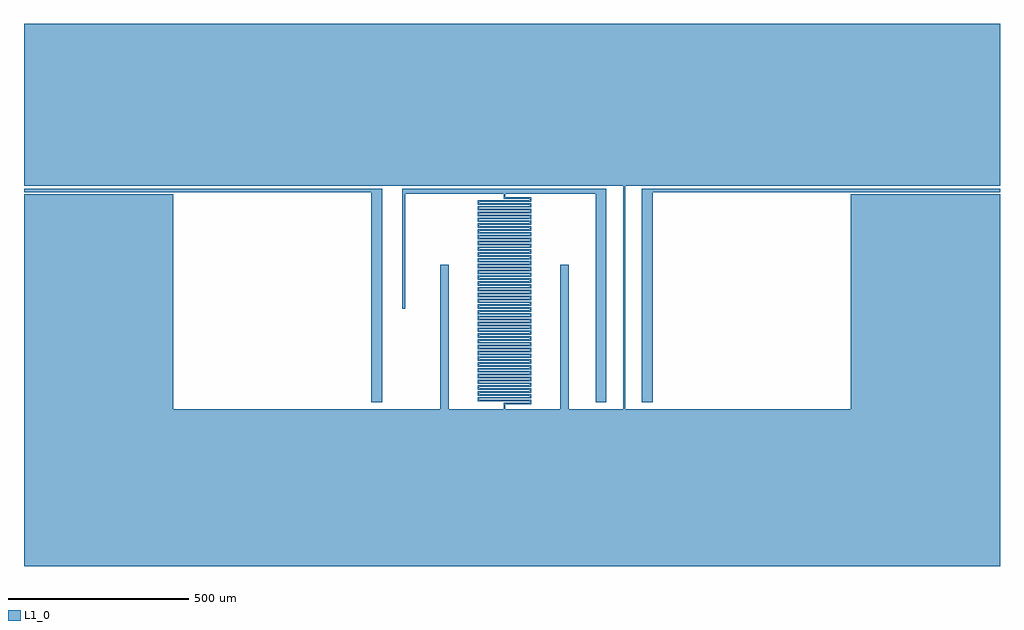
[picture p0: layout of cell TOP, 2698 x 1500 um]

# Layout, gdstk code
import gdstk
lib = gdstk.Library(unit=1e-6, precision=1e-09)
def R(c, l, rs):  # rectangles x0, y0, x1, y1
    for r in rs: c.add(gdstk.rectangle(r[:2], r[2:], *l))
def A(c, l, x, y, w, h, nx, ny, dx, dy):  # array of equal rectangles
    R(c, l, [(x+i*dx, y+j*dy, x+i*dx+w, y+j*dy+h) for i in range(nx) for j in range(ny)])
def P(c, l, *ps):  # polygons
    for p in ps: c.add(gdstk.Polygon(p, *l))
L1_0 = (1, 0)

top = lib.new_cell('TOP')
A(top, L1_0, 1398, -604, 4, 12, 1, 36, 0, 16)
R(top, L1_0, [(0,0,1398,448)])
P(top, L1_0, [(1054,-22),(1326,-22),(1326,-36),(1398,-36),(1398,-32),(1330,-32),(1330,-22),(1398,-22),(1398,-8),(1046,-8),(1046,-340),(1054,-340)],
  [(1398,-618),(1330,-618),(1330,-604),(1398,-604),(1398,-600),(1326,-600),(1326,-618),(1174,-618),(1174,-218),(1150,-218),(1150,-618),(412,-618),(412,-24),(0,-24),(0,-1052),(1398,-1052)],
  [(1258,-48),(1258,-44),(1398,-44),(1398,-40),(1254,-40),(1254,-52),(1398,-52),(1398,-48)],
  [(1258,-64),(1258,-60),(1398,-60),(1398,-56),(1254,-56),(1254,-68),(1398,-68),(1398,-64)],
  [(1258,-80),(1258,-76),(1398,-76),(1398,-72),(1254,-72),(1254,-84),(1398,-84),(1398,-80)],
  [(1258,-96),(1258,-92),(1398,-92),(1398,-88),(1254,-88),(1254,-100),(1398,-100),(1398,-96)],
  [(1258,-112),(1258,-108),(1398,-108),(1398,-104),(1254,-104),(1254,-116),(1398,-116),(1398,-112)],
  [(1258,-128),(1258,-124),(1398,-124),(1398,-120),(1254,-120),(1254,-132),(1398,-132),(1398,-128)],
  [(1258,-144),(1258,-140),(1398,-140),(1398,-136),(1254,-136),(1254,-148),(1398,-148),(1398,-144)],
  [(1258,-160),(1258,-156),(1398,-156),(1398,-152),(1254,-152),(1254,-164),(1398,-164),(1398,-160)],
  [(1258,-176),(1258,-172),(1398,-172),(1398,-168),(1254,-168),(1254,-180),(1398,-180),(1398,-176)],
  [(1258,-192),(1258,-188),(1398,-188),(1398,-184),(1254,-184),(1254,-196),(1398,-196),(1398,-192)],
  [(1258,-208),(1258,-204),(1398,-204),(1398,-200),(1254,-200),(1254,-212),(1398,-212),(1398,-208)],
  [(1258,-224),(1258,-220),(1398,-220),(1398,-216),(1254,-216),(1254,-228),(1398,-228),(1398,-224)],
  [(1258,-240),(1258,-236),(1398,-236),(1398,-232),(1254,-232),(1254,-244),(1398,-244),(1398,-240)],
  [(1258,-256),(1258,-252),(1398,-252),(1398,-248),(1254,-248),(1254,-260),(1398,-260),(1398,-256)],
  [(1258,-272),(1258,-268),(1398,-268),(1398,-264),(1254,-264),(1254,-276),(1398,-276),(1398,-272)],
  [(1258,-288),(1258,-284),(1398,-284),(1398,-280),(1254,-280),(1254,-292),(1398,-292),(1398,-288)],
  [(1258,-304),(1258,-300),(1398,-300),(1398,-296),(1254,-296),(1254,-308),(1398,-308),(1398,-304)],
  [(1258,-320),(1258,-316),(1398,-316),(1398,-312),(1254,-312),(1254,-324),(1398,-324),(1398,-320)],
  [(1258,-336),(1258,-332),(1398,-332),(1398,-328),(1254,-328),(1254,-340),(1398,-340),(1398,-336)],
  [(1258,-352),(1258,-348),(1398,-348),(1398,-344),(1254,-344),(1254,-356),(1398,-356),(1398,-352)],
  [(1258,-368),(1258,-364),(1398,-364),(1398,-360),(1254,-360),(1254,-372),(1398,-372),(1398,-368)],
  [(1258,-384),(1258,-380),(1398,-380),(1398,-376),(1254,-376),(1254,-388),(1398,-388),(1398,-384)],
  [(1258,-400),(1258,-396),(1398,-396),(1398,-392),(1254,-392),(1254,-404),(1398,-404),(1398,-400)],
  [(1258,-416),(1258,-412),(1398,-412),(1398,-408),(1254,-408),(1254,-420),(1398,-420),(1398,-416)],
  [(1258,-432),(1258,-428),(1398,-428),(1398,-424),(1254,-424),(1254,-436),(1398,-436),(1398,-432)],
  [(1258,-448),(1258,-444),(1398,-444),(1398,-440),(1254,-440),(1254,-452),(1398,-452),(1398,-448)],
  [(1258,-464),(1258,-460),(1398,-460),(1398,-456),(1254,-456),(1254,-468),(1398,-468),(1398,-464)],
  [(1258,-480),(1258,-476),(1398,-476),(1398,-472),(1254,-472),(1254,-484),(1398,-484),(1398,-480)],
  [(1258,-496),(1258,-492),(1398,-492),(1398,-488),(1254,-488),(1254,-500),(1398,-500),(1398,-496)],
  [(1258,-512),(1258,-508),(1398,-508),(1398,-504),(1254,-504),(1254,-516),(1398,-516),(1398,-512)],
  [(1258,-528),(1258,-524),(1398,-524),(1398,-520),(1254,-520),(1254,-532),(1398,-532),(1398,-528)],
  [(1258,-544),(1258,-540),(1398,-540),(1398,-536),(1254,-536),(1254,-548),(1398,-548),(1398,-544)],
  [(1258,-560),(1258,-556),(1398,-556),(1398,-552),(1254,-552),(1254,-564),(1398,-564),(1398,-560)],
  [(1258,-576),(1258,-572),(1398,-572),(1398,-568),(1254,-568),(1254,-580),(1398,-580),(1398,-576)],
  [(1258,-592),(1258,-588),(1398,-588),(1398,-584),(1254,-584),(1254,-596),(1398,-596),(1398,-592)],
  [(2698,-24),(2286,-24),(2286,-618),(1662,-618),(1662,0),(2698,0),(2698,448),(1398,448),(1398,0),(1656,0),(1656,-618),(1506,-618),(1506,-218),(1482,-218),(1482,-618),(1398,-618),(1398,-1052),(2698,-1052)],
  [(1610,-8),(1398,-8),(1398,-22),(1580,-22),(1580,-598),(1610,-598)],
  [(990,-8),(0,-8),(0,-18),(960,-18),(960,-598),(990,-598)],
  [(1738,-18),(2698,-18),(2698,-8),(1708,-8),(1708,-598),(1738,-598)])

lib.write_gds('TOP.gds')
